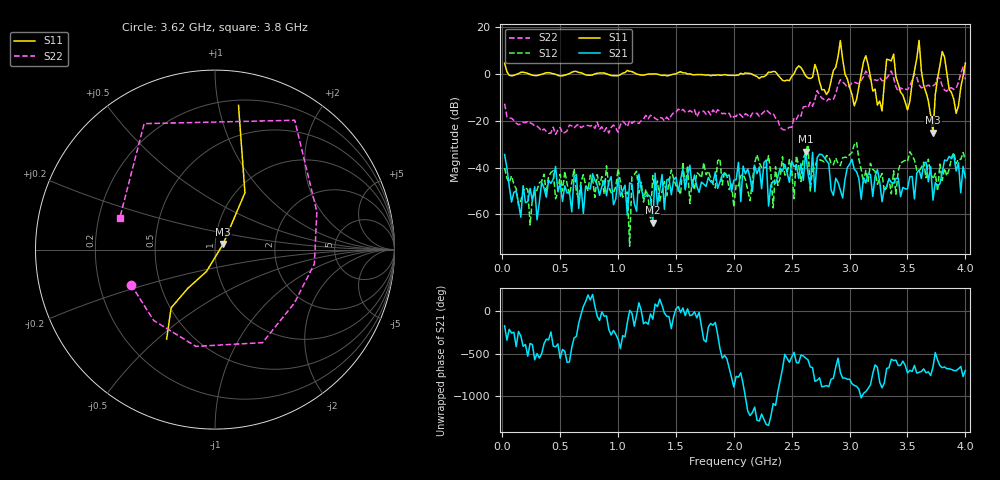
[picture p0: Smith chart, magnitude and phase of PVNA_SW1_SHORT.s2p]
! PocketVna 1.78  pocketvna.com
! Live measurements ((Reflection-S11, Transmission-S21, Transmission-S12, Reflection-S22) Linear 500000-4000000000/201 calibrated)
# Hz S RI R 50
! Hz  ReS11  ImS11  ReS21  ImS21  ReS12  ImS12  ReS22  ImS22
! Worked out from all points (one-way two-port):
!   200 points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, 20.5 MHz to 4 GHz, reference 50 ohm
!   highest |S21| = -33.13 dB at 2.62 GHz (marker M1); lowest = -63.5 dB at 1.3 GHz (marker M2)
!   lowest |S11| = -25.1 dB at 3.72 GHz (marker M3), VSWR 1.12, Z = 54.7 + j3.45 ohm
!   |S11| at or under -10 dB: 3.23 GHz to 3.29 GHz (59.44 MHz wide, 1.82 % of centre); 3.466 GHz to 3.525 GHz (58.34 MHz wide, 1.67 % of centre); 3.672 GHz to 3.739 GHz (67.02 MHz wide, 1.81 % of centre) (the widest 3 of 5)
!   |S22| runs from -25.8 to 3.0 dB; largest |S21 - S12| = 0.043
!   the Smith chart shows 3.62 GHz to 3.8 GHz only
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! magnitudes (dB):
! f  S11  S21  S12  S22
! 20.5 MHz  4.6  -34.4  -40.2  -12.7
! 240.5 MHz  -0.2  -48.9  -64.5  -20.9
! 700.4 MHz  0.1  -59.6  -43.0  -22.3
! 1 GHz  -0.7  -44.5  -40.4  -24.9
! 1.1 GHz  1.1  -46.5  -73.5  -19.9
! 1.12 GHz  1.0  -47.0  -43.8  -21.0
! 1.28 GHz  0.0  -52.5  -61.5  -17.7
! 1.3 GHz  0.0  -63.5  -43.4  -18.0
! 1.36 GHz  -0.4  -49.5  -54.3  -18.6
! 2.02 GHz  -0.6  -45.1  -47.0  -18.0
! 2.62 GHz  -0.8  -33.1  -33.8  -13.8
! 2.68 GHz  -1.5  -33.5  -40.7  -13.8
! 2.92 GHz  14.3  -49.6  -39.1  -2.5
! 3.04 GHz  -13.6  -40.6  -30.2  -3.4
! 3.28 GHz  -15.8  -54.6  -42.5  -2.9
! 3.34 GHz  6.0  -44.7  -44.9  -0.4
! 3.5 GHz  -15.3  -49.1  -37.4  -6.8
! 3.6 GHz  14.3  -41.0  -41.4  -4.6
! 3.72 GHz  -25.1  -53.9  -44.9  -5.0
! 3.8 GHz  9.6  -42.0  -45.6  -5.1
! 3.92 GHz  -16.8  -41.4  -38.4  -6.2
! 4 GHz  4.7  -44.4  -36.8  -2.4
